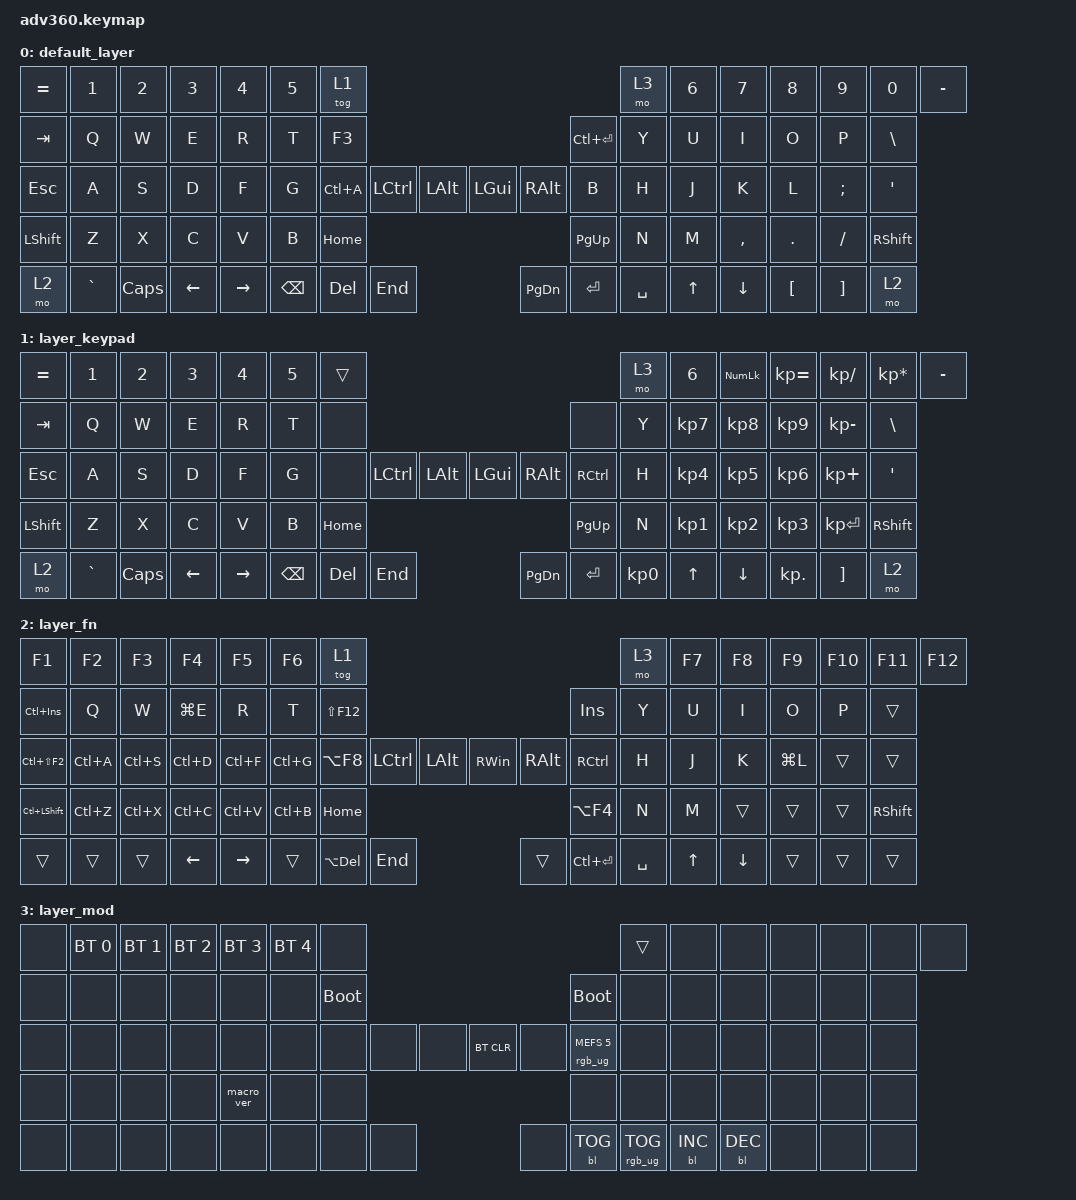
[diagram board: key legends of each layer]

/*
 * Copyright (c) 2020 The ZMK Contributors
 *
 * SPDX-License-Identifier: MIT
 */


/* THIS FILE WAS GENERATED!
 *
 * This file was generated automatically. You may or may not want to
 * edit it directly.
 */

#include <behaviors.dtsi>
#include <dt-bindings/zmk/keys.h>
#include <dt-bindings/zmk/bt.h>
#include <dt-bindings/zmk/rgb.h>
#include <dt-bindings/zmk/backlight.h>

/ {
  behaviors {
    #include "macros.dtsi"
    #include "version.dtsi"

    hm: homerow_mods {
        compatible = "zmk,behavior-hold-tap";
        label = "HOMEROW_MODS";
        #binding-cells = <2>;
        tapping-term-ms = <200>;
        quick_tap_ms = <175>;
        flavor = "tap-preferred";
        bindings = <&kp>, <&kp>;
    };
  };

    keymap {
        compatible = "zmk,keymap";


        default_layer {
            bindings = <
 &kp EQUAL     &kp N1    &kp N2    &kp N3     &kp N4  &kp N5               &tog 1                                                                     &mo 3  &kp N6  &kp N7     &kp N8    &kp N9    &kp N0  &kp MINUS
   &kp TAB      &kp Q     &kp W     &kp E      &kp R   &kp T               &kp F3                                                             &kp LC(ENTER)   &kp Y   &kp U      &kp I     &kp O     &kp P   &kp BSLH
   &kp ESC      &kp A     &kp S     &kp D      &kp F   &kp G            &kp LC(A)  &kp LCTRL  &kp LALT                   &kp LGUI   &kp RALT          &kp B   &kp H   &kp J      &kp K     &kp L  &kp SEMI    &kp SQT
 &kp LSHFT      &kp Z     &kp X     &kp C      &kp V   &kp B                                  &kp HOME                  &kp PG_UP                             &kp N   &kp M  &kp COMMA   &kp DOT  &kp FSLH  &kp RSHFT
     &mo 2  &kp GRAVE  &kp CAPS  &kp LEFT  &kp RIGHT                     &kp BSPC    &kp DEL   &kp END                  &kp PG_DN  &kp ENTER      &kp SPACE          &kp UP   &kp DOWN  &kp LBKT  &kp RBKT      &mo 2
            >;
        };

        layer_keypad {
            bindings = <
 &kp EQUAL     &kp N1    &kp N2    &kp N3     &kp N4  &kp N5              &trans                                                                         &mo 3  &kp N6  &kp KP_NUM  &kp KP_EQUAL  &kp KP_DIVIDE  &kp KP_MULTIPLY  &kp MINUS
   &kp TAB      &kp Q     &kp W     &kp E      &kp R   &kp T               &none                                                                         &none   &kp Y   &kp KP_N7     &kp KP_N8      &kp KP_N9     &kp KP_MINUS   &kp BSLH
   &kp ESC      &kp A     &kp S     &kp D      &kp F   &kp G               &none  &kp LCTRL  &kp LALT                   &kp LGUI   &kp RALT  &kp RIGHT_CONTROL   &kp H   &kp KP_N4     &kp KP_N5      &kp KP_N6      &kp KP_PLUS    &kp SQT
 &kp LSHFT      &kp Z     &kp X     &kp C      &kp V   &kp B                                 &kp HOME                  &kp PG_UP                                 &kp N   &kp KP_N1     &kp KP_N2      &kp KP_N3     &kp KP_ENTER  &kp RSHFT
     &mo 2  &kp GRAVE  &kp CAPS  &kp LEFT  &kp RIGHT                    &kp BSPC    &kp DEL   &kp END                  &kp PG_DN  &kp ENTER          &kp KP_N0              &kp UP      &kp DOWN     &kp KP_DOT         &kp RBKT      &mo 2
            >;
        };

        layer_fn {
            bindings = <
             &kp F1     &kp F2     &kp F3     &kp F4     &kp F5     &kp F6                 &tog 1                                                                                &mo 3  &kp F7  &kp F8    &kp F9    &kp F10  &kp F11          &kp F12
     &kp LC(INSERT)      &kp Q      &kp W  &kp LG(E)      &kp R      &kp T            &kp LS(F12)                                                                           &kp INSERT   &kp Y   &kp U     &kp I      &kp O    &kp P           &trans
     &kp LC(LS(F2))  &kp LC(A)  &kp LC(S)  &kp LC(D)  &kp LC(F)  &kp LC(G)             &kp LA(F8)       &kp LCTRL  &kp LEFT_ALT                    &kp RWIN       &kp RALT   &kp RCTRL   &kp H   &kp J     &kp K  &kp LG(L)   &trans           &trans
 &kp LC(LEFT_SHIFT)  &kp LC(Z)  &kp LC(X)  &kp LC(C)  &kp LC(V)  &kp LC(B)                                             &kp HOME                  &kp LA(F4)                              &kp N   &kp M    &trans     &trans   &trans  &kp RIGHT_SHIFT
             &trans     &trans     &trans   &kp LEFT  &kp RIGHT                            &trans  &kp LA(DELETE)       &kp END                      &trans  &kp LC(ENTER)   &kp SPACE          &kp UP  &kp DOWN     &trans   &trans           &trans
            >;
        };

        layer_mod {
            bindings = <
  &none  &bt BT_SEL 0  &bt BT_SEL 1  &bt BT_SEL 2  &bt BT_SEL 3  &bt BT_SEL 4                  &none                                                                          &trans   &none       &none       &none   &none   &none   &none
  &none         &none         &none         &none         &none         &none            &bootloader                                                                     &bootloader   &none       &none       &none   &none   &none   &none
  &none         &none         &none         &none         &none         &none                  &none   &none   &none                  &bt BT_CLR       &none  &rgb_ug RGB_MEFS_CMD 5   &none       &none       &none   &none   &none   &none
  &none         &none         &none         &none    &macro_ver         &none                                  &none                       &none                                       &none       &none       &none   &none   &none   &none
  &none         &none         &none         &none         &none                                &none   &none   &none                       &none  &bl BL_TOG         &rgb_ug RGB_TOG          &bl BL_INC  &bl BL_DEC   &none   &none   &none
            >;
        };

    };
};
